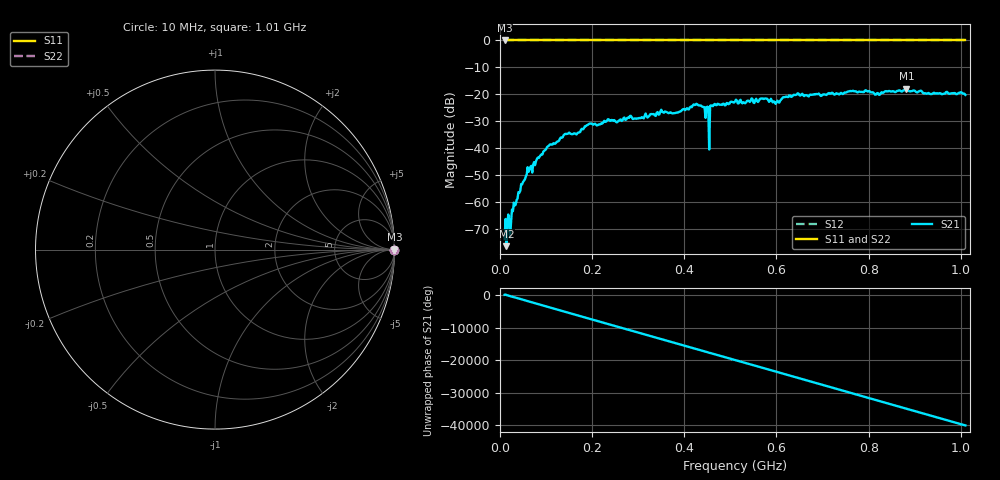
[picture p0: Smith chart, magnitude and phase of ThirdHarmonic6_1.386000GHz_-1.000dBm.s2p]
! 8/16/2025 3:46:41 PM
! C:\ANRITSUVNA\TEMP\TEMP.S2P
! CHANNEL.1
! TR.MEASUREMENT
! RAW.DATA
! RF.CORRECTION.OFF
! AVERAGING.OFF
! IF.BANDWIDTH: 5KHZ
! SWEEPTYPE:  FREQ.SWEEP(Linear)
! Reference Plane Port Info
! PORT:  PORT1  PORT2
! DISTANCE:  0  m  0  m
! TIME:  0  s  0  s
! PHASE.OFFSET:  0  deg.  0  deg.
! LOSS:  0  dB  0  dB
! REF.LOSS:  0  dB  0  dB
! REF.FREQ:  0  Hz  0  Hz
! Power Info
! POWER:  -20  dBm  -20  dBm
! EFF.POWER:  -20  dBm  -20  dBm
! SOURCE.ATTEN:  0  dB  0  dB
! TEST.ATTEN:  0  dB  0  dB
# GHZ S RI R 50.0
! FREQ.GHZ  S11RE  S11IM  S21RE  S21IM  S12RE  S12IM  S22RE  S22IM
!; PortSelection: Port_12
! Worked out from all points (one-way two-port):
!   501 points, 10 MHz to 1.01 GHz, reference 50 ohm
!   highest |S21| = -17.90 dB at 882 MHz (marker M1); lowest = -76.3 dB at 14 MHz (marker M2)
!   lowest |S11| = 0.0 dB at 10 MHz (marker M3)
!   |S11| at or under -10 dB: nowhere
!   |S22| runs from 0.0 to 0.0 dB; largest |S21 - S12| = 1.1
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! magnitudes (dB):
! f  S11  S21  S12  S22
! 10 MHz  0.0  -73.6  0.0  0.0
! 14 MHz  0.0  -76.3  0.0  0.0
! 18 MHz  0.0  -64.5  0.0  0.0
! 30 MHz  0.0  -60.1  0.0  0.0
! 64 MHz  0.0  -47.7  0.0  0.0
! 106 MHz  0.0  -39.0  0.0  0.0
! 178 MHz  0.0  -32.7  0.0  0.0
! 196 MHz  0.0  -30.8  0.0  0.0
! 344 MHz  0.0  -27.5  0.0  0.0
! 384 MHz  0.0  -26.7  0.0  0.0
! 424 MHz  0.0  -23.9  0.0  0.0
! 448 MHz  0.0  -24.8  0.0  0.0
! 450 MHz  0.0  -24.6  0.0  0.0
! 458 MHz  0.0  -24.1  0.0  0.0
! 460 MHz  0.0  -24.2  0.0  0.0
! 510 MHz  0.0  -22.6  0.0  0.0
! 602 MHz  0.0  -22.3  0.0  0.0
! 644 MHz  0.0  -20.1  0.0  0.0
! 678 MHz  0.0  -20.1  0.0  0.0
! 844 MHz  0.0  -18.7  0.0  0.0
! 882 MHz  0.0  -17.9  0.0  0.0
! 1.01 GHz  0.0  -20.2  0.0  0.0
